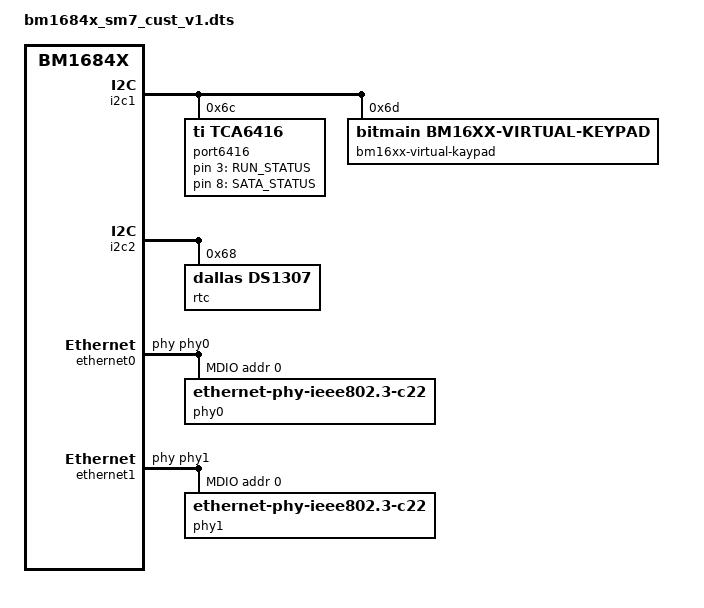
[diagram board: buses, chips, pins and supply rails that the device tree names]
#include "bm1684x.dtsi"
#include "bm1684x_mm_16g.dtsi"
#include "bm1684x_evb.dtsi"

#include <dt-bindings/input/input.h>

/ {
	/delete-node/ pka@58008000;
	/delete-node/ clp890@50018000;
	info {
		file-name = "bm1684x_sm7_cust_v1.dtb";
	};
};

&i2c1 {
	/delete-node/ rtc@68;

	port6416: tca6416@6c {
		compatible = "ti,tca6416";
		reg = <0x6c>;
		gpio-controller;
		#gpio-cells = <2>;
	};

	bm16xx-virtual-kaypad@6d {
		compatible = "bitmain,bm16xx-virtual-keypad";
		reg = <0x6d>;
		keypad,num-rows = <1>;
		keypad,num-columns = <8>;
		linux,keymap =
			<
			MATRIX_KEY(0x00, 0x00, KEY_POWER)
			MATRIX_KEY(0x00, 0x01, KEY_RESTART)
			MATRIX_KEY(0x00, 0x02, KEY_FN_F1)
			MATRIX_KEY(0x00, 0x03, BTN_3)
			MATRIX_KEY(0x00, 0x04, BTN_4)
			MATRIX_KEY(0x00, 0x05, BTN_5)
			MATRIX_KEY(0x00, 0x06, BTN_6)
			MATRIX_KEY(0x00, 0x07, BTN_7)
			>;
	};
};

&i2c2 {
	rtc@68 {
		compatible = "dallas,ds1307";
		reg = <0x68>;
	};
};

/ {
	gpioleds: gpio-leds {
		compatible = "gpio-leds";
		status = "okay";

		run_led {
			label = "RUN_STATUS";
			gpios = <&port6416 3 GPIO_ACTIVE_HIGH>;
			default-state = "off";
		};

		sata_led {
			label = "SATA_STATUS";
			gpios = <&port6416 8 GPIO_ACTIVE_HIGH>;
			default-state = "off";
		};
	};
};

&ethernet0 {
	phy-handle = <&phy0>;
	mdio {
		#address-cells = <0x1>;
		#size-cells = <0x0>;
		compatible = "snps,dwmac-mdio";
		phy0: phy@0 {
			compatible = "ethernet-phy-ieee802.3-c22";
			device_type = "ethernet-phy";
			reg = <0x0>;

			rx-internal-delay-ps = <1050>;
			motorcomm,rx-clk-drv-microamp = <3970>;
			motorcomm,rx-data-drv-microamp = <3970>;
			led0_config = <0x0078>;
			led1_config = <0x2600>;
			led2_config = <0x0>;
		};
	};
};

&ethernet1 {
	phy-handle = <&phy1>;
	mdio {
		#address-cells = <0x1>;
		#size-cells = <0x0>;
		compatible = "snps,dwmac-mdio";
		phy1: phy@0 {
			compatible = "ethernet-phy-ieee802.3-c22";
			device_type = "ethernet-phy";
			reg = <0x0>;

			rx-internal-delay-ps = <1050>;
			motorcomm,rx-clk-drv-microamp = <3970>;
			motorcomm,rx-data-drv-microamp = <3970>;
			led0_config = <0x0078>;
			led1_config = <0x2600>;
			led2_config = <0x0>;
		};
	};
};
